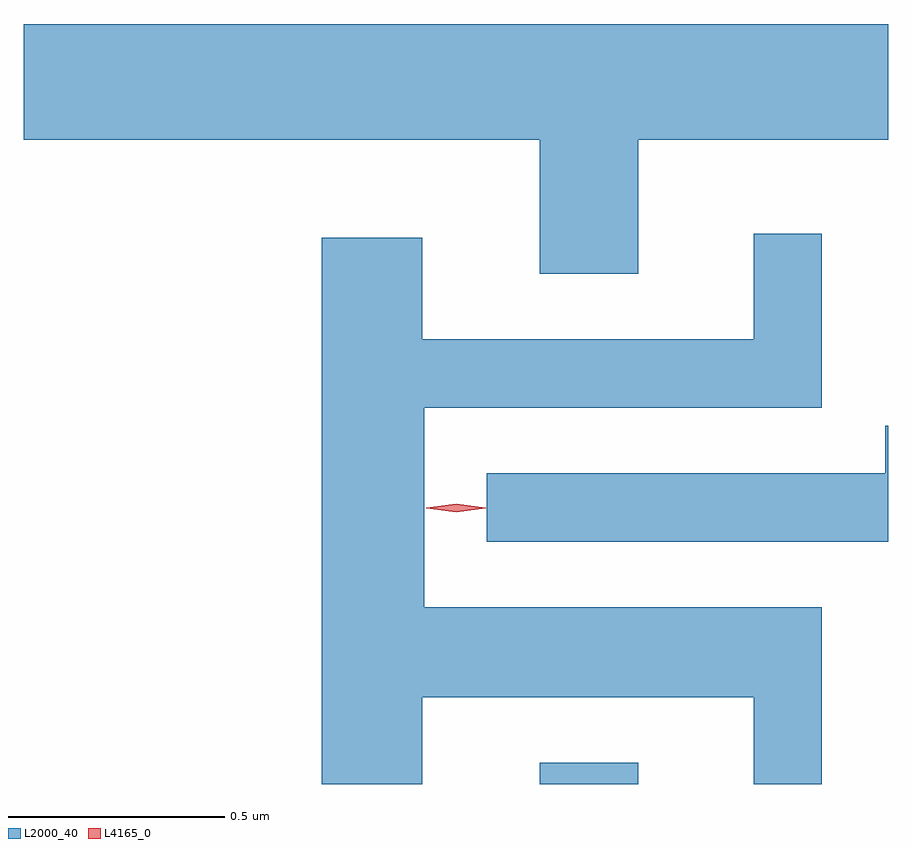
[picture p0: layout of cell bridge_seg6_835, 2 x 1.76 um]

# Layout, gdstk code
import gdstk
lib = gdstk.Library(unit=1e-6, precision=1e-09)
def R(c, l, rs):  # rectangles x0, y0, x1, y1
    for r in rs: c.add(gdstk.rectangle(r[:2], r[2:], *l))
def P(c, l, *ps):  # polygons
    for p in ps: c.add(gdstk.Polygon(p, *l))
L2000_40 = (2000, 40)
L4165_0 = (4165, 0)

bridge_seg6_835 = lib.new_cell('bridge_seg6_835')
R(bridge_seg6_835, L2000_40, [(559.531,1586.285,559.759,1586.334)])
P(bridge_seg6_835, L2000_40, [(559.759,1587.776),(560.337,1587.776),(560.337,1588.044),(558.337,1588.044),(558.337,1587.776),(559.531,1587.776),(559.531,1587.466),(559.759,1587.466)],
  [(559.259,1586.486),(560.026,1586.486),(560.026,1586.285),(560.184,1586.285),(560.184,1586.694),(559.264,1586.694),(559.264,1587.156),(560.184,1587.156),(560.184,1587.558),(560.026,1587.558),(560.026,1587.314),(559.259,1587.314),(559.259,1587.549),(559.026,1587.549),(559.026,1586.285),(559.259,1586.285)],
  [(560.337,1587.114),(560.331,1587.114),(560.331,1587.004),(559.408,1587.004),(559.408,1586.846),(560.337,1586.846)])
P(bridge_seg6_835, L4165_0, [(559.337,1586.914),(559.271,1586.923),(559.27,1586.924),(559.271,1586.924),(559.337,1586.934),(559.402,1586.924),(559.403,1586.924),(559.402,1586.923)],
  [(559.337,1586.914),(559.268,1586.923),(559.268,1586.924),(559.268,1586.924),(559.337,1586.934),(559.406,1586.924),(559.406,1586.924),(559.406,1586.923)])

lib.write_gds('bridge_seg6_835.gds')
